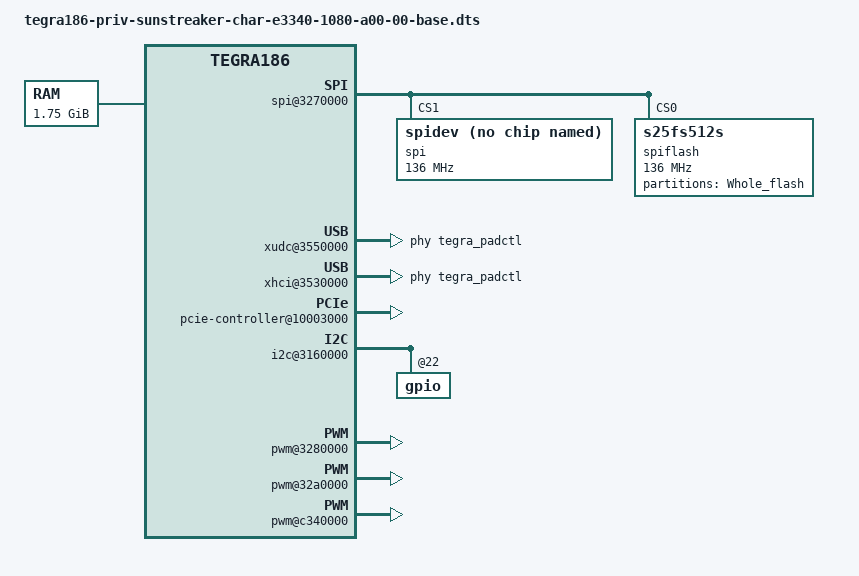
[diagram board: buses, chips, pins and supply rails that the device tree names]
/*
 * tegra186-sunstreaker-e3340-1080-a00-00-base.dts Sunstreaker-CHAR A00 Board
 *
 * Copyright (c) 2015-2016 NVIDIA CORPORATION.  All rights reserved.
 *
 * This program is free software; you can redistribute it and/or modify
 * it under the terms of the GNU General Public License as published by
 * the Free Software Foundation; version 2 of the License.
 *
 * This program is distributed in the hope that it will be useful, but WITHOUT
 * ANY WARRANTY; without even the implied warranty of MERCHANTABILITY or
 * FITNESS FOR A PARTICULAR PURPOSE.  See the GNU General Public License for
 * more details.
 */

#include "tegra186-platforms/tegra186-sunstreaker-common-e3340-0000-a00.dtsi"
#include "tegra186-platforms/tegra186-sunstreaker-char-power-tree-e3340-1080-a00-00.dtsi"
#include "tegra186-platforms/tegra186-sunstreaker-char-e3340-a00-disp.dsti"
#include "tegra186-plugin-manager/tegra186-sunstreaker-e3340-0000-a00-plugin-manager.dtsi"
#include "tegra186-prod/tegra186-priv-sunstreaker-char-e3340-1080-a00-prod.dtsi"

/ {
	nvidia,dtsfilename = __FILE__;
	nvidia,boardids = "3340:1080:A0";
	nvidia,proc-boardid = "3340:1080:A0";

	chosen {
		board-has-eeprom;
		bootargs ="console=ttyS0,115200";
		stdout-path = &uarta;
	};

	firmware {
		android {
			compatible = "android,firmware";
			hardware = "sunstreaker";
		};
	};

	memory@80000000 {
		device_type = "memory";
		reg = <0x0 0x80000000 0x0 0x70000000>;
	};

	spi@3270000 {/* QSPI NOR */
		status = "okay";
		spi@0 {
			compatible = "spidev";
			reg = <1>;
			spi-max-frequency = <136000000>;
			controller-data {
					nvidia,x1-len-limit = <16>;
					nvidia,x1-bus-speed = <136000000>; /* In Mhz */
					nvidia,x1-dymmy-cycle = <0>;
					nvidia,x4-bus-speed = <136000000>;
					nvidia,x4-dymmy-cycle = <8>;
					nvidia,ifddr-div2-sdr = <1>;
					nvidia,x4-is-ddr=<1>;
			};
		};

		spiflash@1 {
			#address-cells = <1>;
			#size-cells = <1>;
			compatible = "s25fs512s";
			reg = <0>;
			spi-max-frequency = <136000000>;
			partition@0 {
				label = "Whole_flash";
				reg = <0x00000000 0x4000000>;
			};
			controller-data {
				nvidia,x1-len-limit = <16>;
				nvidia,x1-bus-speed = <136000000>; /* In Mhz */
				nvidia,x1-dymmy-cycle = <8>;
				nvidia,x4-bus-speed = <136000000>;
				nvidia,x4-dymmy-cycle = <8>;
				nvidia,ifddr-div2-sdr = <1>;
				nvidia,x4-is-ddr=<1>;
			};
		};
	};


	xudc@3550000 {
		status = "okay";
		phys = <&tegra_padctl TEGRA_PADCTL_PHY_UTMI_P(0)>,
			<&tegra_padctl TEGRA_PADCTL_PHY_USB3_P(1)>;
		phy-names = "usb2", "usb3";
	};

	xhci@3530000 {
		status = "okay";
		phys = <&tegra_padctl TEGRA_PADCTL_PHY_UTMI_P(0)>,
			<&tegra_padctl TEGRA_PADCTL_PHY_UTMI_P(1)>,
			<&tegra_padctl TEGRA_PADCTL_PHY_UTMI_P(2)>,
			<&tegra_padctl TEGRA_PADCTL_PHY_USB3_P(1)>,
			<&tegra_padctl TEGRA_PADCTL_PHY_USB3_P(0)>,
			<&tegra_padctl TEGRA_PADCTL_PHY_USB3_P(2)>,
			<&tegra_padctl TEGRA_PADCTL_PHY_HSIC_P(0)>;
		phy-names = "utmi-0", "utmi-1", "utmi-2", "usb3-1","usb3-0",
			"usb3-2", "hsic-0";
	};

	pinctrl@3520000 {
		status = "okay";
		pinctrl-0 = <&sunstreak_default>;
		pinctrl-names = "default";
		sunstreak_default: pinmux {
			usb2-std-A-port0 {
				nvidia,lanes = "otg-1";
				nvidia,function = "xusb";
				nvidia,port-cap = <TEGRA_PADCTL_PORT_HOST_ONLY>;
			};
			usb3-std-A-port0 {
				nvidia,lanes = "usb3-0";
				nvidia,port-cap = <TEGRA_PADCTL_PORT_HOST_ONLY>;
			};
			usb2-micro-AB {
				nvidia,lanes = "otg-0";
				nvidia,function = "xusb";
				nvidia,port-cap = <TEGRA_PADCTL_PORT_OTG_CAP>;
			};
			usb3-micro-AB {
				nvidia,lanes = "usb3-1";
				nvidia,port-cap = <TEGRA_PADCTL_PORT_OTG_CAP>;
			};
			usb2-std-A-port2 {
				nvidia,lanes = "otg-2";
				nvidia,function = "xusb";
				nvidia,port-cap = <TEGRA_PADCTL_PORT_HOST_ONLY>;
			};
			usb3-std-A-port2 {
				nvidia,lanes = "usb3-2";
				nvidia,port-cap = <TEGRA_PADCTL_PORT_HOST_ONLY>;
			};
			hsic {
				nvidia,lanes = "hsic-0";
				nvidia,function = "hsic";
			};
		};
	};
	pcie-controller@10003000 {
		nvidia,lane-map = <0x211>;
		status = "okay";
		pci@1,0 {
			status = "okay";
		};
		pci@2,0 {
			status = "okay";
		};
		pci@3,0 {
			status = "okay";
		};
	};

	i2c@3160000 {
		gpio@22 {
			disable-sdcard1-power-enable {
				gpio-input = <6>;
			};
		};
	};

	fixed-regulators {
		regulator@110 {
			status = "disabled";
		};

		regulator@111 {
			status = "disabled";
		};
	};

	pwm@3280000 {
		status = "okay";
	};

	pwm@32a0000 {
		status = "okay";
	};

	pwm@c340000 {
		status = "okay";
	};

	tegra-hsp@3c00000 {
		status = "okay";
	};

	tegra-hsp@b150000 {
		status = "okay";
	};
	rtcpu@b000000 {
		status = "okay";
	};
	cpuidle {
		compatible = "nvidia,tegra18x-cpuidle";
		status = "okay";
	};
};
